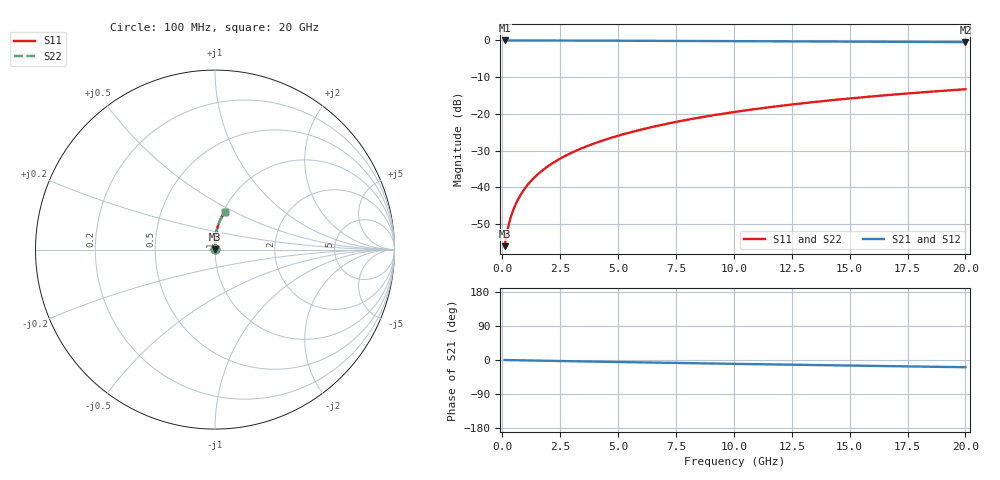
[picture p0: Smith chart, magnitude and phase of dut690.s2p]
! Touchstone file exported from HFSS 2024.1.0
!  File:  C:/UserFiles/LocalFiles/RDL_TSV_Batchsim/temp_RDL_bottom_690_1779786990.aedt
!  Generated:  05:19:02 PM May 26, 2026
!  Design:  RDL_bottom
!  Project:  temp_RDL_bottom_690_1779786990
!  Setup:  Setup1
!  Solution:  Sweep
! Variables:
!  dtsv = 10.80580581um
!  hbump = 3um
!  htsv = 62.13um
!  ldown = 228.71um
!  lrdl = 100um
!  p = 40
!  p1 = 53.06um
!  rhole = 1um
!  t = 450um
!  tdown = 3.86um
!  trdl = 3.915915916um
!  wdown = 21.16um
!  wrdl = 20um
# GHz S MA R 50.000000
! Terminal data exported
! Port[1] = RDL1_T1
! Port[2] = RDL1_T2
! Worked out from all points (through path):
!   200 points, 100 MHz to 20 GHz, reference 50 ohm
!   highest |S21| = -0.01 dB at 100 MHz (marker M1); lowest = -0.5 dB at 20 GHz (marker M2)
!   group delay of S21, straight-line fit = 2.62 ps
!   lowest |S11| = -56.0 dB at 100 MHz (marker M3), VSWR 1.00, Z = 50.1 + j0.105 ohm
!   |S11| at or under -10 dB: start of sweep to end of sweep
!   |S22| runs from -56.0 to -13.3 dB; largest |S21 - S12| = 2.9e-15
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0.1  0.001579 41.4  0.9988 -0.1  0.9988 -0.1  0.001579 41.4
! Gamma 0 0 0 0
! Port Impedance 50 0 50 0
0.2  0.002402 59.1  0.9988 -0.2  0.9988 -0.2  0.002402 59.1
0.3  0.003306 67.2  0.9987 -0.3  0.9987 -0.3  0.003306 67.2
0.4  0.004228 71.8  0.9986 -0.4  0.9986 -0.4  0.004228 71.8
0.5  0.005158 74.9  0.9985 -0.6  0.9985 -0.6  0.005158 74.9
0.6  0.006095 77.1  0.9985 -0.7  0.9985 -0.7  0.006095 77.1
0.8  0.007985 80.0  0.9984 -0.9  0.9984 -0.9  0.007985 80.0
1.1  0.01085 82.7  0.9981 -1.2  0.9981 -1.2  0.01085 82.7
1.5  0.01473 84.7  0.9978 -1.6  0.9978 -1.6  0.01473 84.7
1.8  0.01766 85.6  0.9974 -2.0  0.9974 -2.0  0.01766 85.6
2.1  0.02061 86.3  0.997 -2.3  0.997 -2.3  0.02061 86.3
2.7  0.02658 87.1  0.9961 -2.9  0.9961 -2.9  0.02658 87.1
3.5  0.0347 87.8  0.9946 -3.8  0.9946 -3.8  0.0347 87.8
4.2  0.04194 88.0  0.993 -4.5  0.993 -4.5  0.04194 88.0
5  0.05037 88.0  0.9911 -5.3  0.9911 -5.3  0.05037 88.0
5.9  0.06004 87.8  0.9888 -6.2  0.9888 -6.2  0.06004 87.8
6.8  0.06989 87.4  0.9863 -7.1  0.9863 -7.1  0.06989 87.4
8.4  0.0877 86.4  0.9819 -8.6  0.9819 -8.6  0.0877 86.4
10.1  0.1069 85.0  0.9771 -10.2  0.9771 -10.2  0.1069 85.0
13.4  0.1442 81.9  0.9679 -13.2  0.9679 -13.2  0.1442 81.9
16.7  0.1808 78.7  0.9584 -16.2  0.9584 -16.2  0.1808 78.7
20  0.2164 75.4  0.9485 -19.1  0.9485 -19.1  0.2164 75.4
